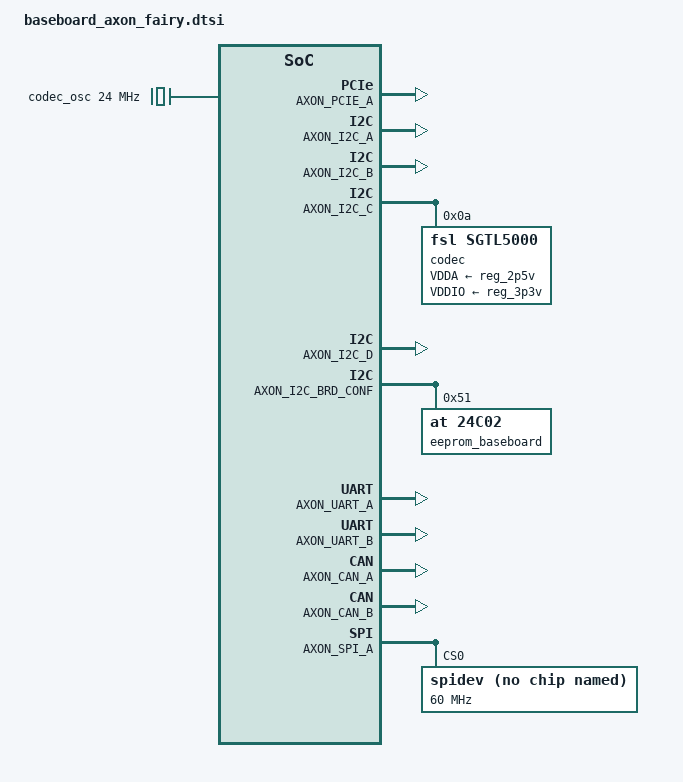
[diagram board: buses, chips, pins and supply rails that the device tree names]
/*
 * Copyright 2018 Technexion Ltd.
 *
 * Author: Tapani Utriainen <tapani@technexion.com>
 *         Richard Hu <richard.hu@technexion.com>
 *         John Weber <john.weber@technexion.com>
 *
 * This program is free software; you can redistribute it and/or modify
 * it under the terms of the GNU General Public License version 2 as
 * published by the Free Software Foundation.
 *
 */

/*
 * Baseboard device tree for Axon on EDM1-FAIRY using EDM1 adapter
 */

#include <tnmacro.h>

/ {
	gpio-axon {
		compatible = "gpio-edm";

    gpio_x1_p66 {
			label = "gpio_x1_p66";
			gpios = <&AXON_EXT_GPIO_X1_P66 GPIO_ACTIVE_HIGH>;
			dir   = "out";
		};

    gpio_x1_p68 {
			label = "gpio_x1_p68";
			gpios = <&AXON_EXT_GPIO_X1_P68 GPIO_ACTIVE_HIGH>;
			dir   = "out";
		};

    gpio_x1_p70 {
			label = "gpio_x1_p70";
			gpios = <&AXON_EXT_GPIO_X1_P70 GPIO_ACTIVE_HIGH>;
			dir   = "out";
		};

    gpio_x1_p72 {
			label = "gpio_x1_p72";
			gpios = <&AXON_EXT_GPIO_X1_P72 GPIO_ACTIVE_HIGH>;
			dir   = "out";
		};

    gpio_x1_p74 {
			label = "gpio_x1_p74";
			gpios = <&AXON_EXT_GPIO_X1_P74 GPIO_ACTIVE_HIGH>;
			dir   = "out";
		};

    gpio_x1_p76 {
			label = "gpio_x1_p76";
			gpios = <&AXON_EXT_GPIO_X1_P76 GPIO_ACTIVE_HIGH>;
			dir   = "out";
		};

    gpio_x1_p78 {
			label = "gpio_x1_p78";
			gpios = <&AXON_EXT_GPIO_X1_P78 GPIO_ACTIVE_HIGH>;
			dir   = "out";
		};

    gpio_x1_p80 {
			label = "gpio_x1_p80";
			gpios = <&AXON_EXT_GPIO_X1_P80 GPIO_ACTIVE_HIGH>;
			dir   = "out";
		};
	};

	sound: sound {
                compatible = "fsl,imx-sgtl5000",
                             "fsl,imx-audio-sgtl5000";
                model = "audio-sgtl5000";
                ssi-controller = <&AXON_AUD_A_I2S_CHANNEL>;
                audio-codec = <&codec>;
                audio-routing =
                        "MIC_IN", "Mic Jack",
                        "Mic Jack", "Mic Bias",
                        "Headphone Jack", "HP_OUT";
#if defined(AXON_AUD_A_MUX_INT) && defined(AXON_AUD_A_MUX_INT)
                mux-int-port = <AXON_AUD_A_MUX_INT>;
                mux-ext-port = <AXON_AUD_A_MUX_EXT>;
#else
                fsl,no-audmux = "true";
#endif
	};

	clocks {
		codec_osc: aud_mclk {  /* Note - on AXON pi rev 0.1 MCLK comes from external osc */
			compatible = "fixed-clock";
			#clock-cells = <0>;
			clock-frequency = <24000000>;
		};
	};

	
};

&iomuxc {
        pinctrl-0 = AXON_SOM_PINCTRL,
                <&pinctrl_gpio_x1_p66>,
                <&pinctrl_gpio_x1_p68>,
                <&pinctrl_gpio_x1_p70>,
                <&pinctrl_gpio_x1_p72>,
                <&pinctrl_gpio_x1_p74>,
                <&pinctrl_gpio_x1_p76>,
                <&pinctrl_gpio_x1_p78>,
                <&pinctrl_gpio_x1_p80>;
};

&AXON_PCIE_A {
	status = "okay";
};


&AXON_I2C_A {
	status = "okay";
};

&AXON_I2C_B {
  status = "okay";
};

&AXON_I2C_C {
	status = "okay";
        codec: sgtl5000@0a {
                compatible = "fsl,sgtl5000";
                reg = <0x0a>;
                clocks = <&codec_osc>;
                VDDA-supply = <&reg_2p5v>;
                VDDIO-supply = <&reg_3p3v>;
        };
};

&AXON_I2C_D {
	status = "okay";
};

&AXON_I2C_BRD_CONF {
	status = "okay";

	eeprom_baseboard: eeprom@51 {
		compatible = "at,24c02";
		reg = <0x51>;
	};
};

&AXON_UART_A {
	status = "okay";
};

&AXON_UART_B {
	status = "okay";
};

// Used as GPIO
&AXON_UART_C {
	status = "disabled";
};

&AXON_CAN_A {
	status = "okay";
};

&AXON_CAN_B {
	status = "okay";
};

&AXON_SPI_A {
	status = "okay";

	spidev@1 {
		compatible = "rohm,dh2228fv";
		spi-max-frequency = <60000000>;
		reg = <0>;
	};
};

/*
&AXON_SPI_B {
	status = "okay";

	spidev@1 {
		compatible = "rohm,dh2228fv";
		spi-max-frequency = <60000000>;
		reg = <0>;
	};
};
*/

